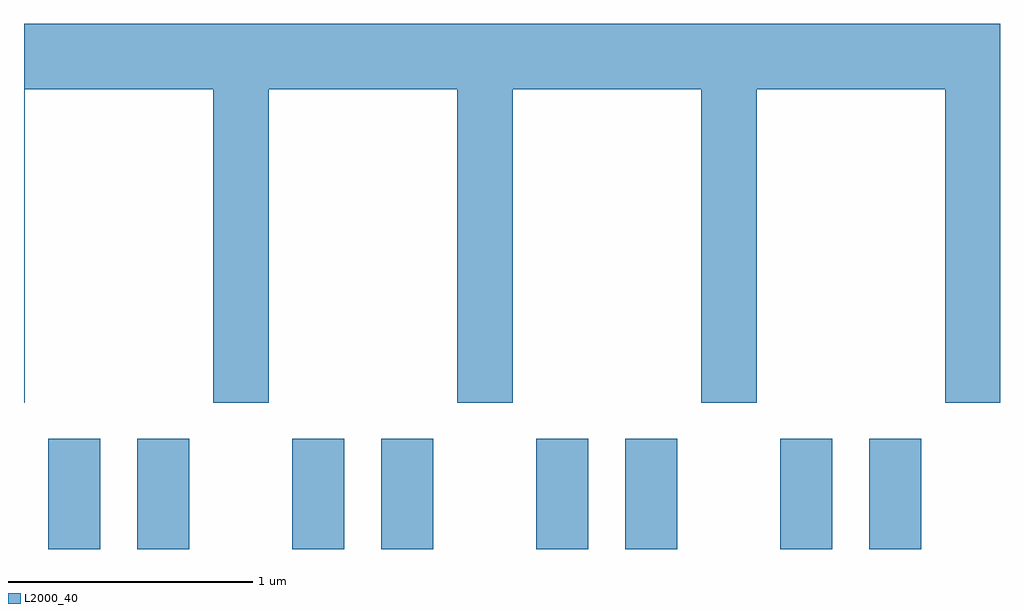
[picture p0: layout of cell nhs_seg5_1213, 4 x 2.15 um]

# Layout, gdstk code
import gdstk
lib = gdstk.Library(unit=1e-6, precision=1e-09)
def R(c, l, rs):  # rectangles x0, y0, x1, y1
    for r in rs: c.add(gdstk.rectangle(r[:2], r[2:], *l))
def P(c, l, *ps):  # polygons
    for p in ps: c.add(gdstk.Polygon(p, *l))
L2000_40 = (2000, 40)

nhs_seg5_1213 = lib.new_cell('nhs_seg5_1213')
R(nhs_seg5_1213, L2000_40, [(221.711,1406.072,221.924,1406.524), (222.076,1406.072,222.289,1406.524), (222.711,1406.072,222.924,1406.524), (223.076,1406.072,223.289,1406.524), (223.711,1406.072,223.924,1406.524), (224.076,1406.072,224.289,1406.524), (224.711,1406.072,224.924,1406.524), (225.076,1406.072,225.289,1406.524)])
P(nhs_seg5_1213, L2000_40, [(221.614,1407.956),(222.386,1407.956),(222.386,1406.671),(222.614,1406.671),(222.614,1407.956),(223.386,1407.956),(223.386,1406.671),(223.614,1406.671),(223.614,1407.956),(224.386,1407.956),(224.386,1406.671),(224.614,1406.671),(224.614,1407.956),(225.386,1407.956),(225.386,1406.671),(225.611,1406.671),(225.611,1408.224),(221.611,1408.224),(221.611,1406.671),(221.614,1406.671)])

lib.write_gds('nhs_seg5_1213.gds')
